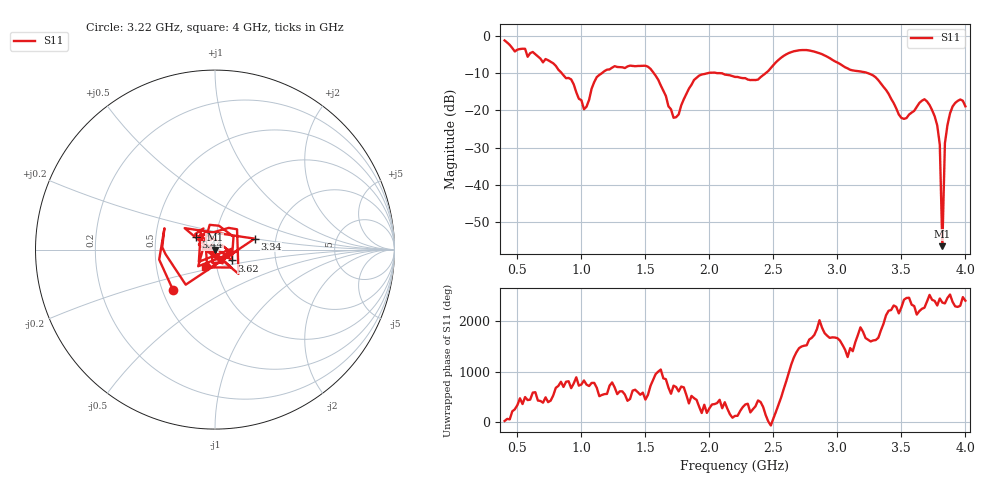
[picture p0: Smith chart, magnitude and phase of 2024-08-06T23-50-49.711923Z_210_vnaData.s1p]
!Created with skrf (http://scikit-rf.org).
# Hz S RI R 50.0
!freq ReS11 ImS11
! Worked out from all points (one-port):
!   181 points, 400 MHz to 4 GHz, reference 50 ohm
!   lowest |S11| = -56.5 dB at 3.82 GHz (marker M1), VSWR 1.00, Z = 49.9 - j0.0597 ohm
!   |S11| at or under -10 dB: 1.566 GHz to 1.986 GHz (420.2 MHz wide, 23.7 % of centre); 2.088 GHz to 2.44 GHz (352 MHz wide, 15.5 % of centre); 3.239 GHz to end of sweep (the widest 3 of 4)
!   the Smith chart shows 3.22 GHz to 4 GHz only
!   S11 on the Smith chart (normalised r, x): 3.22 GHz: 0.57, -0.29; 3.34 GHz: 1.55, +0.20; 3.44 GHz: 0.80, +0.11; 3.62 GHz: 1.20, -0.15; 4 GHz: 0.88, -0.18
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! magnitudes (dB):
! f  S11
! 400 MHz  -1.2
! 860 MHz  -10.6
! 920 MHz  -11.7
! 1.02 GHz  -19.7
! 1.12 GHz  -11.1
! 1.3 GHz  -8.4
! 1.52 GHz  -8.3
! 1.72 GHz  -22.0
! 1.76 GHz  -21.1
! 1.92 GHz  -10.6
! 2.2 GHz  -11.0
! 2.38 GHz  -11.7
! 2.66 GHz  -4.1
! 3.1 GHz  -9.1
! 3.22 GHz  -9.8
! 3.34 GHz  -12.8
! 3.44 GHz  -18.0
! 3.5 GHz  -22.0
! 3.56 GHz  -21.1
! 3.62 GHz  -19.1
! 3.7 GHz  -17.6
! 3.78 GHz  -24.0
! 3.8 GHz  -29.2
! 3.82 GHz  -56.5
! 3.84 GHz  -28.8
! 3.86 GHz  -23.9
! 3.92 GHz  -18.0
! 4 GHz  -18.9
